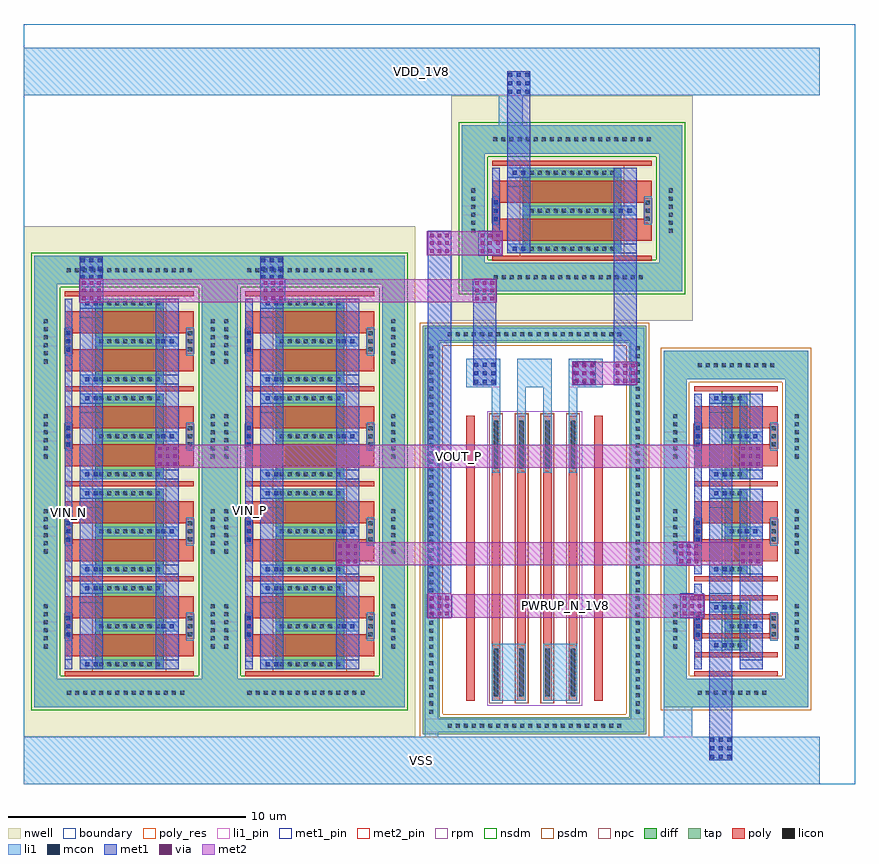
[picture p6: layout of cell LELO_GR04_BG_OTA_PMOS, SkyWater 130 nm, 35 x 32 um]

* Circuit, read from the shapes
.subckt LELO_GR04_BG_OTA_PMOS PWRUP_N_1V8 VDD_1V8 VIN_N VIN_P VOUT_P VSS
XM1 JNWATR_NCH_2C1F2_19/D PWRUP_N_1V8 VSS VSS sky130_fd_pr__nfet_01v8 w=0.96 l=0.22 m=2
XM2 JNWATR_NCH_2C1F2_19/D JNWATR_NCH_2C1F2_19/D VSS VSS sky130_fd_pr__nfet_01v8 w=0.96 l=0.94 m=2
XM3 VOUT_P JNWATR_NCH_2C1F2_19/D VSS VSS sky130_fd_pr__nfet_01v8 w=0.96 l=0.94 m=2
XM4 VOUT_P VIN_N JNWATR_PCH_8C5F0_10/B JNWATR_PCH_8C5F0_10/B sky130_fd_pr__pfet_01v8 w=2.88 l=0.94 m=8
XM5 JNWATR_NCH_2C1F2_19/D VIN_P JNWATR_PCH_8C5F0_10/B JNWATR_PCH_8C5F0_10/B sky130_fd_pr__pfet_01v8 w=2.88 l=0.94 m=8
XM6 JNWATR_PCH_12C5F0_9/D PWRUP_N_1V8 VDD_1V8 VDD_1V8 sky130_fd_pr__pfet_01v8 w=4.16 l=0.94 m=2
XR7 JNWATR_PCH_8C5F0_10/B n1 VSS sky130_fd_pr__res_high_po w=0.36 l=7.24
XR8 n2 n1 VSS sky130_fd_pr__res_high_po w=0.36 l=7.24
XR9 n2 n3 VSS sky130_fd_pr__res_high_po w=0.36 l=7.24
XR10 JNWATR_PCH_12C5F0_9/D n3 VSS sky130_fd_pr__res_high_po w=0.36 l=7.24
.ends

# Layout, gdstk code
import gdstk
lib = gdstk.Library(unit=1e-6, precision=1e-09)
def R(c, l, rs):  # rectangles x0, y0, x1, y1
    for r in rs: c.add(gdstk.rectangle(r[:2], r[2:], *l))
def A(c, l, x, y, w, h, nx, ny, dx, dy):  # array of equal rectangles
    R(c, l, [(x+i*dx, y+j*dy, x+i*dx+w, y+j*dy+h) for i in range(nx) for j in range(ny)])
nwell = (64, 20)
diff = (65, 20)
tap = (65, 44)
poly_res = (66, 13)
poly = (66, 20)
licon = (66, 44)
li1_pin = (67, 16)
li1 = (67, 20)
mcon = (67, 44)
met1_pin = (68, 16)
met1 = (68, 20)
via = (68, 44)
met2_pin = (69, 16)
met2 = (69, 20)
rpm = (86, 20)
nsdm = (93, 44)
psdm = (94, 20)
npc = (95, 20)
boundary = (235, 4)

jnwatr_nch_2ctapbot = lib.new_cell('JNWATR_NCH_2CTAPBOT')
R(jnwatr_nch_2ctapbot, tap, [(-0.48,0.6,5.6,1.8), (-0.48,1.8,0.48,2.6), (4.64,1.8,5.6,2.6)])
A(jnwatr_nch_2ctapbot, licon, 0.955, 1.115, 0.17, 0.17, 9, 1, 0.34, 0)
R(jnwatr_nch_2ctapbot, li1, [(-0.48,0.6,5.6,1.8), (-0.48,1.8,0.48,2.6), (4.64,1.8,5.6,2.6)])
R(jnwatr_nch_2ctapbot, psdm, [(-0.605,0.475,5.725,1.925), (-0.605,1.925,0.605,2.725), (4.515,1.925,5.725,2.725)])
R(jnwatr_nch_2ctapbot, boundary, [(0,0,5.12,2.4)])

jnwatr_nch_2ctaptop = lib.new_cell('JNWATR_NCH_2CTAPTOP')
R(jnwatr_nch_2ctaptop, tap, [(-0.48,-0.2,0.48,0.6), (4.64,-0.2,5.6,0.6), (-0.48,0.6,5.6,1.8)])
A(jnwatr_nch_2ctaptop, licon, 0.945, 1.115, 0.17, 0.17, 10, 1, 0.34, 0)
R(jnwatr_nch_2ctaptop, li1, [(-0.48,-0.2,0.48,0.6), (4.64,-0.2,5.6,0.6), (-0.48,0.6,5.6,1.8)])
R(jnwatr_nch_2ctaptop, psdm, [(-0.605,-0.325,0.605,0.475), (4.515,-0.325,5.725,0.475), (-0.605,0.475,5.725,1.925)])
R(jnwatr_nch_2ctaptop, boundary, [(0,0,5.12,2.4)])

jnwatr_pch_8ctapbot = lib.new_cell('JNWATR_PCH_8CTAPBOT')
R(jnwatr_pch_8ctapbot, nwell, [(-0.92,-0.64,7.96,3.04)])
R(jnwatr_pch_8ctapbot, tap, [(-0.48,0.6,7.52,1.8), (-0.48,1.8,0.48,2.6), (6.56,1.8,7.52,2.6)])
A(jnwatr_pch_8ctapbot, licon, 0.895, 1.115, 0.17, 0.17, 15, 1, 0.34, 0)
R(jnwatr_pch_8ctapbot, li1, [(-0.48,0.6,7.52,1.8), (-0.48,1.8,0.48,2.6), (6.56,1.8,7.52,2.6)])
R(jnwatr_pch_8ctapbot, nsdm, [(-0.605,0.475,7.645,1.925), (-0.605,1.925,0.605,2.725), (6.435,1.925,7.645,2.725)])
R(jnwatr_pch_8ctapbot, boundary, [(0,0,7.04,2.4)])

jnwatr_pch_8ctaptop = lib.new_cell('JNWATR_PCH_8CTAPTOP')
R(jnwatr_pch_8ctaptop, nwell, [(-0.92,-0.64,7.96,3.04)])
R(jnwatr_pch_8ctaptop, tap, [(-0.48,-0.2,0.48,0.6), (6.56,-0.2,7.52,0.6), (-0.48,0.6,7.52,1.8)])
A(jnwatr_pch_8ctaptop, licon, 0.885, 1.115, 0.17, 0.17, 16, 1, 0.34, 0)
R(jnwatr_pch_8ctaptop, li1, [(-0.48,-0.2,0.48,0.6), (6.56,-0.2,7.52,0.6), (-0.48,0.6,7.52,1.8)])
R(jnwatr_pch_8ctaptop, nsdm, [(-0.605,-0.325,0.605,0.475), (6.435,-0.325,7.645,0.475), (-0.605,0.475,7.645,1.925)])
R(jnwatr_pch_8ctaptop, boundary, [(0,0,7.04,2.4)])

jnwatr_pch_12ctaptop = lib.new_cell('JNWATR_PCH_12CTAPTOP')
R(jnwatr_pch_12ctaptop, nwell, [(-0.92,-0.64,9.24,3.04)])
R(jnwatr_pch_12ctaptop, tap, [(-0.48,-0.2,0.48,0.6), (7.84,-0.2,8.8,0.6), (-0.48,0.6,8.8,1.8)])
A(jnwatr_pch_12ctaptop, licon, 0.845, 1.115, 0.17, 0.17, 20, 1, 0.34, 0)
R(jnwatr_pch_12ctaptop, li1, [(-0.48,-0.2,0.48,0.6), (7.84,-0.2,8.8,0.6), (-0.48,0.6,8.8,1.8)])
R(jnwatr_pch_12ctaptop, nsdm, [(-0.605,-0.325,0.605,0.475), (7.715,-0.325,8.925,0.475), (-0.605,0.475,8.925,1.925)])
R(jnwatr_pch_12ctaptop, boundary, [(0,0,8.32,2.4)])

jnwatr_nch_2c5f0 = lib.new_cell('JNWATR_NCH_2C5F0')
R(jnwatr_nch_2c5f0, diff, [(2.08,0.2,3.04,3.8)])
R(jnwatr_nch_2c5f0, tap, [(-0.48,-0.2,0.48,4.2), (4.64,-0.2,5.6,4.2)])
R(jnwatr_nch_2c5f0, poly, [(0.8,-0.11,4.32,0.11), (0.8,0.73,4.32,1.67), (0.8,1.67,1.12,2.33), (4,1.67,4.32,2.33), (0.8,2.33,4.32,3.27), (0.8,3.89,4.32,4.11)])
A(jnwatr_nch_2c5f0, licon, 2.305, 0.315, 0.17, 0.17, 1, 3, 0, 1.6)
A(jnwatr_nch_2c5f0, licon, 2.645, 0.315, 0.17, 0.17, 1, 3, 0, 1.6)
A(jnwatr_nch_2c5f0, licon, -0.085, 1.065, 0.17, 0.17, 1, 6, 0, 0.34)
A(jnwatr_nch_2c5f0, licon, 5.035, 1.065, 0.17, 0.17, 1, 6, 0, 0.34)
A(jnwatr_nch_2c5f0, licon, 0.87, 1.575, 0.17, 0.17, 1, 3, 0, 0.34)
A(jnwatr_nch_2c5f0, licon, 4.07, 1.575, 0.17, 0.17, 1, 3, 0, 0.34)
R(jnwatr_nch_2c5f0, li1_pin, [(-0.48,1.8,0.48,2.2)])
R(jnwatr_nch_2c5f0, li1, [(-0.48,-0.2,0.48,4.2), (4.64,-0.2,5.6,4.2), (1.44,0.2,3.04,0.6), (0.8,1.4,1.12,2.6), (4,1.4,4.32,2.6), (2.08,1.8,3.68,2.2), (1.44,3.4,3.04,3.8)])
A(jnwatr_nch_2c5f0, mcon, 0.87, 1.555, 0.17, 0.17, 1, 3, 0, 0.36)
R(jnwatr_nch_2c5f0, mcon, [(1.655,0.315,1.825,0.485), (2.015,0.315,2.185,0.485), (2.935,1.915,3.105,2.085), (3.295,1.915,3.465,2.085), (1.655,3.515,1.825,3.685), (2.015,3.515,2.185,3.685)])
R(jnwatr_nch_2c5f0, met1_pin, [(2.72,0.2,3.68,0.6), (0.8,1.8,1.12,2.2), (1.44,3,2.4,3.4)])
R(jnwatr_nch_2c5f0, met1, [(0.8,0.2,1.12,3.8), (1.44,0.2,2.4,3.8), (2.72,0.2,3.68,3.8)])
R(jnwatr_nch_2c5f0, nsdm, [(1.955,0.075,3.165,3.925)])
R(jnwatr_nch_2c5f0, psdm, [(-0.605,-0.325,0.605,4.325), (4.515,-0.325,5.725,4.325)])
R(jnwatr_nch_2c5f0, npc, [(0.77,1.475,1.14,2.525), (3.97,1.475,4.34,2.525)])
R(jnwatr_nch_2c5f0, boundary, [(0,0,5.12,4)])
jnwatr_nch_2c5f0.add(gdstk.Label('B', (0,2), layer=67, texttype=5))
jnwatr_nch_2c5f0.add(gdstk.Label('G', (0.96,2), layer=68, texttype=5))
jnwatr_nch_2c5f0.add(gdstk.Label('S', (1.92,3.2), layer=68, texttype=5))
jnwatr_nch_2c5f0.add(gdstk.Label('D', (3.2,0.4), layer=68, texttype=5))

jnwatr_pch_8c5f0 = lib.new_cell('JNWATR_PCH_8C5F0')
R(jnwatr_pch_8c5f0, nwell, [(-0.92,-0.64,7.96,4.64)])
R(jnwatr_pch_8c5f0, diff, [(2.08,0.2,4.96,3.8)])
R(jnwatr_pch_8c5f0, tap, [(-0.48,-0.2,0.48,4.2), (6.56,-0.2,7.52,4.2)])
R(jnwatr_pch_8c5f0, poly, [(0.8,-0.11,6.24,0.11), (0.8,0.73,6.24,1.67), (0.8,1.67,1.12,2.33), (5.92,1.67,6.24,2.33), (0.8,2.33,6.24,3.27), (0.8,3.89,6.24,4.11)])
A(jnwatr_pch_8c5f0, licon, 2.245, 0.315, 0.17, 0.17, 8, 3, 0.34, 1.6)
A(jnwatr_pch_8c5f0, licon, -0.085, 1.065, 0.17, 0.17, 1, 6, 0, 0.34)
A(jnwatr_pch_8c5f0, licon, 6.955, 1.065, 0.17, 0.17, 1, 6, 0, 0.34)
A(jnwatr_pch_8c5f0, licon, 0.87, 1.575, 0.17, 0.17, 1, 3, 0, 0.34)
A(jnwatr_pch_8c5f0, licon, 5.99, 1.575, 0.17, 0.17, 1, 3, 0, 0.34)
R(jnwatr_pch_8c5f0, li1_pin, [(-0.48,1.8,0.48,2.2)])
R(jnwatr_pch_8c5f0, li1, [(-0.48,-0.2,0.48,4.2), (6.56,-0.2,7.52,4.2), (1.44,0.2,4.96,0.6), (0.8,1.4,1.12,2.6), (5.92,1.4,6.24,2.6), (2.08,1.8,5.6,2.2), (1.44,3.4,4.96,3.8)])
A(jnwatr_pch_8c5f0, mcon, 0.87, 1.555, 0.17, 0.17, 1, 3, 0, 0.36)
R(jnwatr_pch_8c5f0, mcon, [(1.655,0.315,1.825,0.485), (2.015,0.315,2.185,0.485), (4.855,1.915,5.025,2.085), (5.215,1.915,5.385,2.085), (1.655,3.515,1.825,3.685), (2.015,3.515,2.185,3.685)])
R(jnwatr_pch_8c5f0, met1_pin, [(4.64,0.2,5.6,0.6), (0.8,1.8,1.12,2.2), (1.44,3,2.4,3.4)])
R(jnwatr_pch_8c5f0, met1, [(0.8,0.2,1.12,3.8), (1.44,0.2,2.4,3.8), (4.64,0.2,5.6,3.8)])
R(jnwatr_pch_8c5f0, nsdm, [(-0.605,-0.325,0.605,4.325), (6.435,-0.325,7.645,4.325)])
R(jnwatr_pch_8c5f0, psdm, [(1.955,0.075,5.085,3.925)])
R(jnwatr_pch_8c5f0, npc, [(0.77,1.475,1.14,2.525), (5.89,1.475,6.26,2.525)])
R(jnwatr_pch_8c5f0, boundary, [(0,0,7.04,4)])
jnwatr_pch_8c5f0.add(gdstk.Label('B', (0,2), layer=67, texttype=5))
jnwatr_pch_8c5f0.add(gdstk.Label('G', (0.96,2), layer=68, texttype=5))
jnwatr_pch_8c5f0.add(gdstk.Label('S', (1.92,3.2), layer=68, texttype=5))
jnwatr_pch_8c5f0.add(gdstk.Label('D', (5.12,0.4), layer=68, texttype=5))

jnwatr_pch_12c5f0 = lib.new_cell('JNWATR_PCH_12C5F0')
R(jnwatr_pch_12c5f0, nwell, [(-0.92,-0.64,9.24,4.64)])
R(jnwatr_pch_12c5f0, diff, [(2.08,0.2,6.24,3.8)])
R(jnwatr_pch_12c5f0, tap, [(-0.48,-0.2,0.48,4.2), (7.84,-0.2,8.8,4.2)])
R(jnwatr_pch_12c5f0, poly, [(0.8,-0.11,7.52,0.11), (0.8,0.73,7.52,1.67), (0.8,1.67,1.12,2.33), (7.2,1.67,7.52,2.33), (0.8,2.33,7.52,3.27), (0.8,3.89,7.52,4.11)])
A(jnwatr_pch_12c5f0, licon, 2.375, 0.315, 0.17, 0.17, 11, 3, 0.34, 1.6)
A(jnwatr_pch_12c5f0, licon, -0.085, 1.065, 0.17, 0.17, 1, 6, 0, 0.34)
A(jnwatr_pch_12c5f0, licon, 8.235, 1.065, 0.17, 0.17, 1, 6, 0, 0.34)
A(jnwatr_pch_12c5f0, licon, 0.87, 1.575, 0.17, 0.17, 1, 3, 0, 0.34)
A(jnwatr_pch_12c5f0, licon, 7.27, 1.575, 0.17, 0.17, 1, 3, 0, 0.34)
R(jnwatr_pch_12c5f0, li1_pin, [(-0.48,1.8,0.48,2.2)])
R(jnwatr_pch_12c5f0, li1, [(-0.48,-0.2,0.48,4.2), (7.84,-0.2,8.8,4.2), (1.44,0.2,6.24,0.6), (0.8,1.4,1.12,2.6), (7.2,1.4,7.52,2.6), (2.08,1.8,6.88,2.2), (1.44,3.4,6.24,3.8)])
A(jnwatr_pch_12c5f0, mcon, 0.87, 1.555, 0.17, 0.17, 1, 3, 0, 0.36)
R(jnwatr_pch_12c5f0, mcon, [(1.655,0.315,1.825,0.485), (2.015,0.315,2.185,0.485), (6.135,1.915,6.305,2.085), (6.495,1.915,6.665,2.085), (1.655,3.515,1.825,3.685), (2.015,3.515,2.185,3.685)])
R(jnwatr_pch_12c5f0, met1_pin, [(5.92,0.2,6.88,0.6), (0.8,1.8,1.12,2.2), (1.44,3,2.4,3.4)])
R(jnwatr_pch_12c5f0, met1, [(0.8,0.2,1.12,3.8), (1.44,0.2,2.4,3.8), (5.92,0.2,6.88,3.8)])
R(jnwatr_pch_12c5f0, nsdm, [(-0.605,-0.325,0.605,4.325), (7.715,-0.325,8.925,4.325)])
R(jnwatr_pch_12c5f0, psdm, [(1.955,0.075,6.365,3.925)])
R(jnwatr_pch_12c5f0, npc, [(0.77,1.475,1.14,2.525), (7.17,1.475,7.54,2.525)])
R(jnwatr_pch_12c5f0, boundary, [(0,0,8.32,4)])
jnwatr_pch_12c5f0.add(gdstk.Label('B', (0,2), layer=67, texttype=5))
jnwatr_pch_12c5f0.add(gdstk.Label('G', (0.96,2), layer=68, texttype=5))
jnwatr_pch_12c5f0.add(gdstk.Label('S', (1.92,3.2), layer=68, texttype=5))
jnwatr_pch_12c5f0.add(gdstk.Label('D', (6.4,0.4), layer=68, texttype=5))

jnwtr_res4 = lib.new_cell('JNWTR_RES4')
A(jnwtr_res4, poly_res, 0.9, 1.72, 0.36, 7.36, 4, 1, 1.08, 0)
A(jnwtr_res4, poly, -0.18, -0.6, 0.36, 12, 6, 1, 1.08, 0)
A(jnwtr_res4, licon, 0.985, -0.4, 0.19, 2, 4, 2, 1.08, 9.6)
R(jnwtr_res4, li1_pin, [(-0.18,12.6,1.26,13.8), (4.14,12.6,5.58,13.8)])
A(jnwtr_res4, li1, 0.9, 9, 0.36, 3.6, 4, 1, 1.08, 0)
A(jnwtr_res4, li1, -0.18, 12.6, 1.44, 1.2, 3, 1, 2.16, 0)
R(jnwtr_res4, li1, [(0.9,-0.6,2.34,1.8), (3.06,-0.6,4.5,1.8)])
R(jnwtr_res4, rpm, [(0.7,-0.8,4.7,11.6)])
A(jnwtr_res4, psdm, 0.79, -0.71, 0.58, 12.22, 4, 1, 1.08, 0)
A(jnwtr_res4, npc, 0.805, -0.695, 0.55, 12.19, 4, 1, 1.08, 0)
R(jnwtr_res4, boundary, [(0,0,5.4,13.2)])
jnwtr_res4.add(gdstk.Label('P', (4.86,13.2), layer=67, texttype=5))
jnwtr_res4.add(gdstk.Label('N', (0.54,13.2), layer=67, texttype=5))

jnwtr_rppo4 = lib.new_cell('JNWTR_RPPO4')
R(jnwtr_rppo4, tap, [(0,0,9.4,0.72), (0,0.72,0.72,16.48), (8.68,0.72,9.4,16.48), (0,16.48,9.4,17.2)])
A(jnwtr_rppo4, licon, 1.045, 0.275, 0.17, 0.17, 22, 2, 0.34, 16.48)
A(jnwtr_rppo4, licon, 0.275, 0.865, 0.17, 0.17, 1, 46, 0, 0.34)
A(jnwtr_rppo4, licon, 8.955, 0.865, 0.17, 0.17, 1, 46, 0, 0.34)
R(jnwtr_rppo4, li1_pin, [(0.08,0.08,9.32,0.64), (1.82,14.6,3.26,15.8), (6.14,14.6,7.58,15.8)])
R(jnwtr_rppo4, li1, [(0.08,0.08,9.32,0.64), (0.08,0.64,0.64,16.56), (8.76,0.64,9.32,16.56), (1.82,14.6,3.26,15.8), (6.14,14.6,7.58,15.8), (0.08,16.56,9.32,17.12)])
R(jnwtr_rppo4, psdm, [(-0.125,-0.125,9.525,0.845), (-0.125,0.845,0.845,16.355), (8.555,0.845,9.525,16.355), (-0.125,16.355,9.525,17.325)])
R(jnwtr_rppo4, boundary, [(0,0,9.4,17.2)])
jnwtr_rppo4.add(gdstk.Reference(jnwtr_res4, (2,2)))
jnwtr_rppo4.add(gdstk.Label('B', (4.7,0.36), layer=67, texttype=5))
jnwtr_rppo4.add(gdstk.Label('N', (2.54,15.2), layer=67, texttype=5))
jnwtr_rppo4.add(gdstk.Label('P', (6.86,15.2), layer=67, texttype=5))

jnwatr_pch_12ctapbot = lib.new_cell('JNWATR_PCH_12CTAPBOT')
R(jnwatr_pch_12ctapbot, nwell, [(-0.92,-0.64,9.24,3.04)])
R(jnwatr_pch_12ctapbot, tap, [(-0.48,0.6,8.8,1.8), (-0.48,1.8,0.48,2.6), (7.84,1.8,8.8,2.6)])
A(jnwatr_pch_12ctapbot, licon, 0.855, 1.115, 0.17, 0.17, 19, 1, 0.34, 0)
R(jnwatr_pch_12ctapbot, li1, [(-0.48,0.6,8.8,1.8), (-0.48,1.8,0.48,2.6), (7.84,1.8,8.8,2.6)])
R(jnwatr_pch_12ctapbot, nsdm, [(-0.605,0.475,8.925,1.925), (-0.605,1.925,0.605,2.725), (7.715,1.925,8.925,2.725)])
R(jnwatr_pch_12ctapbot, boundary, [(0,0,8.32,2.4)])

jnwatr_nch_2c1f2 = lib.new_cell('JNWATR_NCH_2C1F2')
R(jnwatr_nch_2c1f2, diff, [(2.08,1,3.04,3)])
R(jnwatr_nch_2c1f2, tap, [(-0.48,-0.2,0.48,4.2), (4.64,-0.2,5.6,4.2)])
A(jnwatr_nch_2c1f2, poly, 0.8, -0.11, 3.52, 0.22, 1, 6, 0, 0.8)
R(jnwatr_nch_2c1f2, poly, [(0.8,1.4,1.12,1.49), (4,1.4,4.32,1.49), (0.8,1.71,1.12,2.29), (4,1.71,4.32,2.29), (0.8,2.51,1.12,2.6), (4,2.51,4.32,2.6)])
A(jnwatr_nch_2c1f2, licon, -0.085, 1.065, 0.17, 0.17, 1, 6, 0, 0.34)
A(jnwatr_nch_2c1f2, licon, 5.035, 1.065, 0.17, 0.17, 1, 6, 0, 0.34)
A(jnwatr_nch_2c1f2, licon, 2.305, 1.115, 0.17, 0.17, 1, 3, 0, 0.8)
A(jnwatr_nch_2c1f2, licon, 2.645, 1.115, 0.17, 0.17, 1, 3, 0, 0.8)
A(jnwatr_nch_2c1f2, licon, 0.87, 1.575, 0.17, 0.17, 1, 3, 0, 0.34)
A(jnwatr_nch_2c1f2, licon, 4.07, 1.575, 0.17, 0.17, 1, 3, 0, 0.34)
R(jnwatr_nch_2c1f2, li1_pin, [(-0.48,1.8,0.48,2.2)])
R(jnwatr_nch_2c1f2, li1, [(-0.48,-0.2,0.48,4.2), (4.64,-0.2,5.6,4.2), (1.44,1,3.04,1.4), (0.8,1.4,1.12,2.6), (4,1.4,4.32,2.6), (2.08,1.8,3.68,2.2), (1.44,2.6,3.04,3)])
A(jnwatr_nch_2c1f2, mcon, 0.87, 1.555, 0.17, 0.17, 1, 3, 0, 0.36)
R(jnwatr_nch_2c1f2, mcon, [(1.655,1.115,1.825,1.285), (2.015,1.115,2.185,1.285), (2.935,1.915,3.105,2.085), (3.295,1.915,3.465,2.085), (1.655,2.715,1.825,2.885), (2.015,2.715,2.185,2.885)])
R(jnwatr_nch_2c1f2, met1_pin, [(2.72,0.2,3.68,0.6), (0.8,1.8,1.12,2.2), (1.44,3,2.4,3.4)])
R(jnwatr_nch_2c1f2, met1, [(0.8,0.2,1.12,3.8), (1.44,0.2,2.4,3.8), (2.72,0.2,3.68,3.8)])
R(jnwatr_nch_2c1f2, nsdm, [(1.955,0.875,3.165,3.125)])
R(jnwatr_nch_2c1f2, psdm, [(-0.605,-0.325,0.605,4.325), (4.515,-0.325,5.725,4.325)])
R(jnwatr_nch_2c1f2, npc, [(0.77,1.475,1.14,2.525), (3.97,1.475,4.34,2.525)])
R(jnwatr_nch_2c1f2, boundary, [(0,0,5.12,4)])
jnwatr_nch_2c1f2.add(gdstk.Label('B', (0,2), layer=67, texttype=5))
jnwatr_nch_2c1f2.add(gdstk.Label('G', (0.96,2), layer=68, texttype=5))
jnwatr_nch_2c1f2.add(gdstk.Label('S', (1.92,3.2), layer=68, texttype=5))
jnwatr_nch_2c1f2.add(gdstk.Label('D', (3.2,0.4), layer=68, texttype=5))

lelo_gr04_bg_ota_pmos = lib.new_cell('LELO_GR04_BG_OTA_PMOS')
R(lelo_gr04_bg_ota_pmos, li1_pin, [(0,0,33.5,2), (0,29,33.5,31)])
R(lelo_gr04_bg_ota_pmos, li1, [(0,0,33.5,2), (16.88,2,17.44,2.78), (26.94,2,28.14,4.44), (18.95,16.85,19.85,17.75), (23.15,16.85,24.05,17.75), (2.39,21.25,3.29,22.15), (9.99,21.25,10.89,22.15), (20,27,21,29), (0,29,33.5,31)])
A(lelo_gr04_bg_ota_pmos, mcon, 28.895, 1.055, 0.17, 0.17, 3, 3, 0.36, 0.36)
A(lelo_gr04_bg_ota_pmos, mcon, 18.955, 16.855, 0.17, 0.17, 3, 3, 0.36, 0.36)
A(lelo_gr04_bg_ota_pmos, mcon, 23.155, 16.855, 0.17, 0.17, 3, 3, 0.36, 0.36)
A(lelo_gr04_bg_ota_pmos, mcon, 2.395, 21.255, 0.17, 0.17, 3, 3, 0.36, 0.36)
A(lelo_gr04_bg_ota_pmos, mcon, 9.995, 21.255, 0.17, 0.17, 3, 3, 0.36, 0.36)
A(lelo_gr04_bg_ota_pmos, mcon, 20.395, 29.055, 0.17, 0.17, 3, 3, 0.36, 0.36)
R(lelo_gr04_bg_ota_pmos, met1_pin, [(9.32,5.14,9.64,17.86), (1.72,5.24,2.04,17.66)])
R(lelo_gr04_bg_ota_pmos, met1, [(28.86,0.99,29.82,15.98), (9.32,5.14,9.64,17.86), (13.16,5.22,14.12,9.22), (1.72,5.24,2.04,17.66), (9.96,5.42,10.92,20.26), (5.56,5.62,6.52,19.78), (2.36,6.22,3.32,20.29), (27.63,6.97,28.63,8.03), (16.97,7,18.03,8), (30.14,7.52,31.1,9.19), (17,8,18,23.3), (30.12,9.19,31.1,9.8), (13.13,9.22,14.15,10.18), (27.49,9.22,28.51,10.18), (30.12,9.8,31.08,10.21), (13.16,10.18,14.12,18.48), (28.22,11.64,28.54,13.16), (30.12,13.29,31.08,14.31), (18.92,16.79,19.88,20.29), (23.12,16.79,24.08,17.81), (24.84,16.79,25.8,23.68), (9.96,20.26,10.98,20.29), (2.33,20.29,3.35,21.25), (9.96,20.29,11.01,21.25), (18.89,20.29,19.91,21.25), (2.36,21.25,3.32,22.21), (9.96,21.25,10.98,21.28), (9.96,21.28,10.92,22.21), (19.135,22.24,20.135,23.3), (20.36,24.62,21.32,30.01)])
A(lelo_gr04_bg_ota_pmos, via, 17.105, 7.105, 0.15, 0.15, 3, 3, 0.32, 0.32)
A(lelo_gr04_bg_ota_pmos, via, 27.735, 7.105, 0.15, 0.15, 3, 3, 0.32, 0.32)
A(lelo_gr04_bg_ota_pmos, via, 13.245, 9.305, 0.15, 0.15, 3, 3, 0.32, 0.32)
A(lelo_gr04_bg_ota_pmos, via, 27.605, 9.305, 0.15, 0.15, 3, 3, 0.32, 0.32)
A(lelo_gr04_bg_ota_pmos, via, 30.205, 9.305, 0.15, 0.15, 3, 3, 0.32, 0.32)
A(lelo_gr04_bg_ota_pmos, via, 5.645, 13.405, 0.15, 0.15, 3, 3, 0.32, 0.32)
A(lelo_gr04_bg_ota_pmos, via, 30.205, 13.405, 0.15, 0.15, 3, 3, 0.32, 0.32)
A(lelo_gr04_bg_ota_pmos, via, 23.205, 16.905, 0.15, 0.15, 3, 3, 0.32, 0.32)
A(lelo_gr04_bg_ota_pmos, via, 24.925, 16.905, 0.15, 0.15, 3, 3, 0.32, 0.32)
A(lelo_gr04_bg_ota_pmos, via, 2.445, 20.375, 0.15, 0.15, 3, 3, 0.32, 0.32)
A(lelo_gr04_bg_ota_pmos, via, 10.105, 20.375, 0.15, 0.15, 3, 3, 0.32, 0.32)
A(lelo_gr04_bg_ota_pmos, via, 19.005, 20.375, 0.15, 0.15, 3, 3, 0.32, 0.32)
A(lelo_gr04_bg_ota_pmos, via, 17.105, 22.375, 0.15, 0.15, 3, 3, 0.32, 0.32)
A(lelo_gr04_bg_ota_pmos, via, 19.24, 22.375, 0.15, 0.15, 3, 3, 0.32, 0.32)
R(lelo_gr04_bg_ota_pmos, met2_pin, [(18,7,27.63,8), (6.52,13.32,30.12,14.28)])
R(lelo_gr04_bg_ota_pmos, met2, [(17,6.97,18,7), (17,7,28.66,8), (17,8,18,8.03), (13.16,9.19,14.12,9.22), (27.52,9.19,28.48,9.22), (13.16,9.22,31.11,10.18), (13.16,10.18,14.12,10.21), (27.52,10.18,28.48,10.21), (5.53,13.32,31.11,14.28), (23.09,16.82,25.83,17.78), (2.36,20.26,3.32,20.29), (10.02,20.26,10.98,20.29), (18.92,20.26,19.88,20.29), (2.36,20.29,19.88,21.25), (2.36,21.25,3.32,21.28), (10.02,21.25,10.98,21.28), (18.92,21.25,19.88,21.28), (16.97,22.27,20.165,23.27)])
R(lelo_gr04_bg_ota_pmos, nsdm, [(29.375,12.565,30.585,12.715)])
A(lelo_gr04_bg_ota_pmos, psdm, 2.875, 8.565, 3.13, 0.15, 1, 3, 0, 4)
A(lelo_gr04_bg_ota_pmos, psdm, 10.475, 8.565, 3.13, 0.15, 1, 3, 0, 4)
R(lelo_gr04_bg_ota_pmos, boundary, [(0,0,35,32)])
lelo_gr04_bg_ota_pmos.add(gdstk.Reference(jnwatr_nch_2ctapbot, (27.42,2.64)))
lelo_gr04_bg_ota_pmos.add(gdstk.Reference(jnwatr_nch_2ctaptop, (27.42,16.44)))
lelo_gr04_bg_ota_pmos.add(gdstk.Reference(jnwatr_pch_8ctapbot, (0.92,2.64)))
lelo_gr04_bg_ota_pmos.add(gdstk.Reference(jnwatr_pch_8ctapbot, (8.52,2.64)))
lelo_gr04_bg_ota_pmos.add(gdstk.Reference(jnwatr_pch_8ctaptop, (0.92,20.44)))
lelo_gr04_bg_ota_pmos.add(gdstk.Reference(jnwatr_pch_8ctaptop, (8.52,20.44)))
lelo_gr04_bg_ota_pmos.add(gdstk.Reference(jnwatr_pch_12ctaptop, (18.92,25.94)))
lelo_gr04_bg_ota_pmos.add(gdstk.Reference(jnwatr_nch_2c5f0, (27.42,12.64)))
lelo_gr04_bg_ota_pmos.add(gdstk.Reference(jnwatr_pch_8c5f0, (8.52,8.64)))
lelo_gr04_bg_ota_pmos.add(gdstk.Reference(jnwatr_pch_12c5f0, (18.92,22.14)))
lelo_gr04_bg_ota_pmos.add(gdstk.Reference(jnwatr_pch_8c5f0, (0.92,16.64)))
lelo_gr04_bg_ota_pmos.add(gdstk.Reference(jnwtr_rppo4, (16.8,2.1)))
lelo_gr04_bg_ota_pmos.add(gdstk.Reference(jnwatr_pch_8c5f0, (0.92,12.64)))
lelo_gr04_bg_ota_pmos.add(gdstk.Reference(jnwatr_pch_8c5f0, (0.92,8.64)))
lelo_gr04_bg_ota_pmos.add(gdstk.Reference(jnwatr_pch_12ctapbot, (18.92,20.14)))
lelo_gr04_bg_ota_pmos.add(gdstk.Reference(jnwatr_pch_8c5f0, (0.92,4.64)))
lelo_gr04_bg_ota_pmos.add(gdstk.Reference(jnwatr_pch_8c5f0, (8.52,16.64)))
lelo_gr04_bg_ota_pmos.add(gdstk.Reference(jnwatr_pch_8c5f0, (8.52,12.64)))
lelo_gr04_bg_ota_pmos.add(gdstk.Reference(jnwatr_pch_8c5f0, (8.52,4.64)))
lelo_gr04_bg_ota_pmos.add(gdstk.Reference(jnwatr_nch_2c1f2, (27.42,4.64)))
lelo_gr04_bg_ota_pmos.add(gdstk.Reference(jnwatr_nch_2c5f0, (27.42,8.64)))
lelo_gr04_bg_ota_pmos.add(gdstk.Label('VDD_1V8', (16.75,30), layer=67, texttype=5))
lelo_gr04_bg_ota_pmos.add(gdstk.Label('VSS', (16.75,1), layer=67, texttype=5))
lelo_gr04_bg_ota_pmos.add(gdstk.Label('VIN_P', (9.48,11.5), layer=68, texttype=5))
lelo_gr04_bg_ota_pmos.add(gdstk.Label('VIN_N', (1.88,11.45), layer=68, texttype=5))
lelo_gr04_bg_ota_pmos.add(gdstk.Label('VOUT_P', (18.32,13.8), layer=69, texttype=5))
lelo_gr04_bg_ota_pmos.add(gdstk.Label('PWRUP_N_1V8', (22.815,7.5), layer=69, texttype=5))

lib.write_gds('LELO_GR04_BG_OTA_PMOS.gds')
